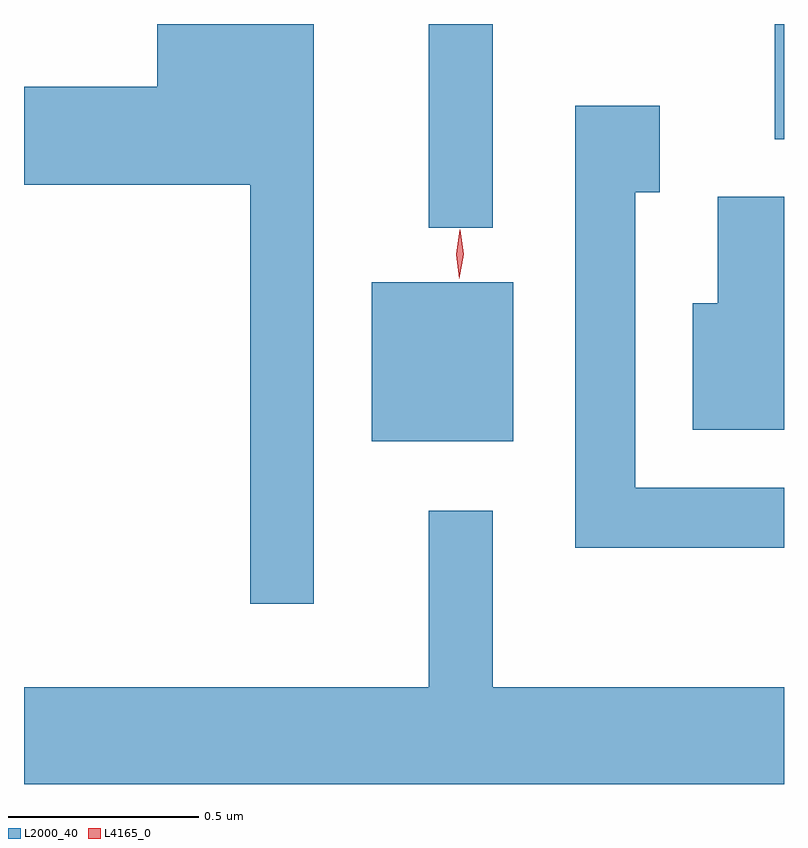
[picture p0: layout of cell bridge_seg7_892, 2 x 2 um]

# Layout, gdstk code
import gdstk
lib = gdstk.Library(unit=1e-6, precision=1e-09)
def R(c, l, rs):  # rectangles x0, y0, x1, y1
    for r in rs: c.add(gdstk.rectangle(r[:2], r[2:], *l))
def P(c, l, *ps):  # polygons
    for p in ps: c.add(gdstk.Polygon(p, *l))
L2000_40 = (2000, 40)
L4165_0 = (4165, 0)

bridge_seg7_892 = lib.new_cell('bridge_seg7_892')
R(bridge_seg7_892, L2000_40, [(297.261,1726.331,297.634,1726.749), (297.411,1726.893,297.579,1727.429), (298.321,1727.126,298.346,1727.429)])
P(bridge_seg7_892, L2000_40, [(297.109,1727.429),(296.696,1727.429),(296.696,1727.264),(296.346,1727.264),(296.346,1727.006),(296.941,1727.006),(296.941,1725.903),(297.109,1725.903)],
  [(298.346,1726.209),(297.954,1726.209),(297.954,1726.986),(298.019,1726.986),(298.019,1727.214),(297.796,1727.214),(297.796,1726.051),(298.346,1726.051)],
  [(298.346,1726.974),(298.171,1726.974),(298.171,1726.694),(298.106,1726.694),(298.106,1726.361),(298.346,1726.361)],
  [(298.346,1725.684),(297.579,1725.684),(297.579,1726.148),(297.411,1726.148),(297.411,1725.684),(296.346,1725.684),(296.346,1725.429),(298.346,1725.429)])
P(bridge_seg7_892, L4165_0, [(297.492,1726.758),(297.491,1726.759),(297.483,1726.823),(297.493,1726.887),(297.494,1726.887),(297.494,1726.887),(297.503,1726.823),(297.492,1726.759)])

lib.write_gds('bridge_seg7_892.gds')
